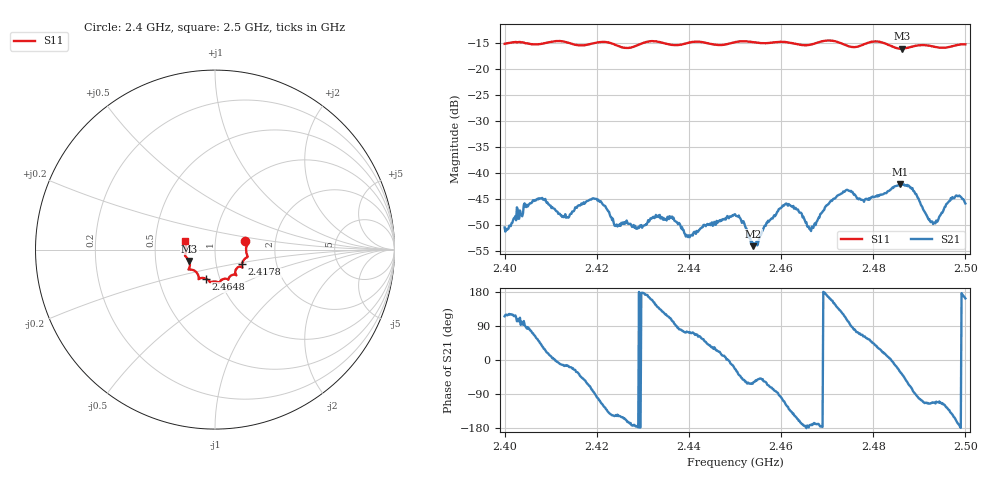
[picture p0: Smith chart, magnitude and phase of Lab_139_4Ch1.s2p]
# Hz S RI R 50
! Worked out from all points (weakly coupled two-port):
!   601 points, 2.4 GHz to 2.5 GHz, reference 50 ohm
!   highest |S21| = -42.13 dB at 2.4858 GHz (marker M1); lowest = -54.0 dB at 2.454 GHz (marker M2)
!   lowest |S11| = -16.1 dB at 2.4862 GHz (marker M3), VSWR 1.37, Z = 37.2 - j4.81 ohm
!   |S11| at or under -10 dB: start of sweep to end of sweep
!   S12 and S22 are empty: the file has one direction only
!   S11 on the Smith chart (normalised r, x): 2.4 GHz: 1.40, +0.14; 2.4178 GHz: 1.33, -0.22; 2.4648 GHz: 0.86, -0.29; 2.5 GHz: 0.71, +0.07
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2.4e9  0.1688 0.047  -0.00129 0.00272  0 0  0 0
2.4075e9  0.1735 -0.00963  0.00376 0.00433  0 0  0 0
2.413333e9  0.1766 -0.044  0.0036 -0.000959  0 0  0 0
2.416667e9  0.1548 -0.0682  0.00358 -0.00365  0 0  0 0
2.417833e9  0.1506 -0.0816  0.00261 -0.0047  0 0  0 0
2.420833e9  0.1526 -0.0998  -0.00197 -0.00501  0 0  0 0
2.424333e9  0.14 -0.095  -0.00271 -0.00171  0 0  0 0
2.433333e9  0.1175 -0.1409  -0.00295 0.00257  0 0  0 0
2.439833e9  0.0765 -0.1619  0.000689 0.00233  0 0  0 0
2.45e9  0.0261 -0.1801  0.00368 -0.00164  0 0  0 0
2.454e9  0.0143 -0.1808  0.00103 -0.0017  0 0  0 0
2.460667e9  -0.0284 -0.1805  -0.0016 -0.00468  0 0  0 0
2.464833e9  -0.0507 -0.1623  -0.00378 -0.000516  0 0  0 0
2.466667e9  -0.0713 -0.1578  -0.00304 -0.000424  0 0  0 0
2.474e9  -0.0942 -0.1416  -0.00254 0.00631  0 0  0 0
2.477667e9  -0.1293 -0.112  0.00221 0.00505  0 0  0 0
2.483333e9  -0.1412 -0.0965  0.00668 0.000864  0 0  0 0
2.485833e9  -0.1423 -0.067  0.0067 -0.00404  0 0  0 0
2.486167e9  -0.1439 -0.0631  0.0063 -0.00455  0 0  0 0
2.493e9  -0.1639 -0.0201  -0.00125 -0.00299  0 0  0 0
2.497333e9  -0.1645 0.0296  -0.00485 -0.00316  0 0  0 0
2.5e9  -0.1668 0.0469  -0.00487 0.00154  0 0  0 0
